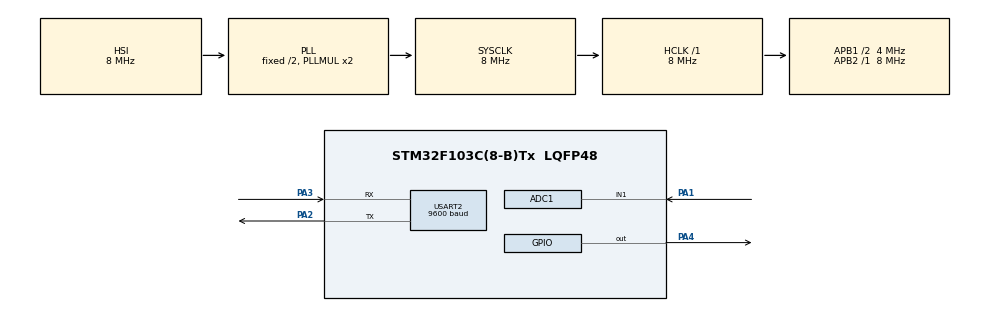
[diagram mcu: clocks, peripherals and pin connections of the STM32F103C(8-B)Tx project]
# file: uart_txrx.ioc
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ADC1.Channel-2\#ChannelRegularConversion=ADC_CHANNEL_1
ADC1.ContinuousConvMode=ENABLE
ADC1.NbrOfConversionFlag=1
ADC1.Rank-2\#ChannelRegularConversion=1
ADC1.SamplingTime-2\#ChannelRegularConversion=ADC_SAMPLETIME_1CYCLE_5
ADC1.master=1
Mcu.Family=STM32F1
Mcu.Name=STM32F103C(8-B)Tx
Mcu.Package=LQFP48
NVIC.PriorityGroup=NVIC_PRIORITYGROUP_4
NVIC.USART2_IRQn=true\:0\:0\:false\:false\:true\:true\:true\:true
PA1.Signal=ADCx_IN1
PA2.Mode=Asynchronous
PA2.Signal=USART2_TX
PA3.Mode=Asynchronous
PA3.Signal=USART2_RX
PA4.GPIO_ModeDefaultOutputPP=GPIO_MODE_OUTPUT_PP
PA4.GPIO_PuPd=GPIO_NOPULL
PA4.GPIO_Speed=GPIO_SPEED_FREQ_HIGH
PA4.Signal=GPIO_Output
ProjectManager.HeapSize=0x200
ProjectManager.StackSize=0x400
ProjectManager.TargetToolchain=MDK-ARM V5.32
RCC.AHBFreq_Value=8000000
RCC.APB1CLKDivider=RCC_HCLK_DIV2
RCC.APB1Freq_Value=4000000
RCC.APB1TimFreq_Value=8000000
RCC.APB2Freq_Value=8000000
RCC.APB2TimFreq_Value=8000000
RCC.HCLKFreq_Value=8000000
RCC.SYSCLKFreq_VALUE=8000000
RCC.SYSCLKSource=RCC_SYSCLKSOURCE_PLLCLK
RCC.USBFreq_Value=8000000
SH.ADCx_IN1.0=ADC1_IN1,IN1
USART2.BaudRate=9600
USART2.VirtualMode=VM_ASYNC
VP_SYS_VS_ND.Mode=No_Debug
VP_TIM1_VS_ClockSourceINT.Mode=Internal
board=custom

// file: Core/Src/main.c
/* USER CODE BEGIN Header */
/**
  ******************************************************************************
  * @file           : main.c
  * @brief          : Main program body
  ******************************************************************************
  * @attention
  *
  * Copyright (c) 2026 STMicroelectronics.
  * All rights reserved.
  *
  * This software is licensed under terms that can be found in the LICENSE file
  * in the root directory of this software component.
  * If no LICENSE file comes with this software, it is provided AS-IS.
  *
  ******************************************************************************
  */
/* USER CODE END Header */
#include "main.h"
#include "adc.h"
#include "tim.h"
#include "usart.h"
#include "gpio.h"

/* USER CODE BEGIN Includes */
#include "stdio.h"
#include "string.h"

/* USER CODE END Includes */

/* USER CODE BEGIN PV */
char tx_buf[100];
uint32_t adc_val = 0;
float dien_ap = 0;
uint8_t rx_data[1]; // Biến hứng lệnh '1' hoặc '0' từ ESP32
/* USER CODE END PV */

void SystemClock_Config(void);

int main(void)
{

  /* MCU Configuration--------------------------------------------------------*/

  /* Reset of all peripherals, Initializes the Flash interface and the Systick. */
  HAL_Init();

  /* Configure the system clock */
  SystemClock_Config();

  /* Initialize all configured peripherals */
  MX_GPIO_Init();
  MX_USART2_UART_Init();
  MX_TIM1_Init();
  MX_ADC1_Init();
  /* USER CODE BEGIN 2 */
HAL_GPIO_WritePin(GPIOA, GPIO_PIN_4, GPIO_PIN_SET);
HAL_ADCEx_Calibration_Start(&hadc1);
// Đảm bảo truyền đúng địa chỉ mảng và số lượng là 1

HAL_TIM_Base_Start(&htim1);
HAL_ADC_Start(&hadc1);
HAL_UART_Receive_IT(&huart2, rx_data, 1);

  /* USER CODE END 2 */

  /* Infinite loop */
  while (1)
  {

    /* USER CODE BEGIN 3 */
		HAL_ADC_Start(&hadc1);
    if (HAL_ADC_PollForConversion(&hadc1, 10) == HAL_OK)
    {
        adc_val = HAL_ADC_GetValue(&hadc1);
        // Công thức tính điện áp:
        // dien_ap = (adc_val * 3.3f) / 4095.0f;
        dien_ap = (adc_val * 3.3f) / 4095.0f;
    }
    HAL_ADC_Stop(&hadc1);

    // Đóng gói JSON ngắn gọn
    sprintf(tx_buf, "{\"a\":%lu,\"v\":%.2f}\n", adc_val, dien_ap);

    // Gửi qua LoRa
    HAL_UART_Transmit(&huart2, (uint8_t*)tx_buf, strlen(tx_buf), 100);

    // Nháy LED PC13 báo hiệu chip vẫn đang chạy
    HAL_GPIO_TogglePin(GPIOC, GPIO_PIN_13);

    // Delay 1 giây (Vừa đủ để LoRa truyền tin ổn định và nút nhấn không quá lag)
    HAL_Delay(5000);
  /* USER CODE END 3 */
}
	}

void SystemClock_Config(void)
{
  RCC_OscInitTypeDef RCC_OscInitStruct = {0};
  RCC_ClkInitTypeDef RCC_ClkInitStruct = {0};
  RCC_PeriphCLKInitTypeDef PeriphClkInit = {0};

  /** Initializes the RCC Oscillators according to the specified parameters
  * in the RCC_OscInitTypeDef structure.
  */
  RCC_OscInitStruct.OscillatorType = RCC_OSCILLATORTYPE_HSI;
  RCC_OscInitStruct.HSIState = RCC_HSI_ON;
  RCC_OscInitStruct.HSICalibrationValue = RCC_HSICALIBRATION_DEFAULT;
  RCC_OscInitStruct.PLL.PLLState = RCC_PLL_ON;
  RCC_OscInitStruct.PLL.PLLSource = RCC_PLLSOURCE_HSI_DIV2;
  RCC_OscInitStruct.PLL.PLLMUL = RCC_PLL_MUL2;
  if (HAL_RCC_OscConfig(&RCC_OscInitStruct) != HAL_OK)
  {
    Error_Handler();
  }

  /** Initializes the CPU, AHB and APB buses clocks
  */
  RCC_ClkInitStruct.ClockType = RCC_CLOCKTYPE_HCLK|RCC_CLOCKTYPE_SYSCLK
                              |RCC_CLOCKTYPE_PCLK1|RCC_CLOCKTYPE_PCLK2;
  RCC_ClkInitStruct.SYSCLKSource = RCC_SYSCLKSOURCE_PLLCLK;
  RCC_ClkInitStruct.AHBCLKDivider = RCC_SYSCLK_DIV1;
  RCC_ClkInitStruct.APB1CLKDivider = RCC_HCLK_DIV2;
  RCC_ClkInitStruct.APB2CLKDivider = RCC_HCLK_DIV1;

  if (HAL_RCC_ClockConfig(&RCC_ClkInitStruct, FLASH_LATENCY_0) != HAL_OK)
  {
    Error_Handler();
  }
  PeriphClkInit.PeriphClockSelection = RCC_PERIPHCLK_ADC;
  PeriphClkInit.AdcClockSelection = RCC_ADCPCLK2_DIV2;
  if (HAL_RCCEx_PeriphCLKConfig(&PeriphClkInit) != HAL_OK)
  {
    Error_Handler();
  }
}

/* USER CODE BEGIN 4 */
void HAL_UART_RxCpltCallback(UART_HandleTypeDef *huart)
{
  if(huart->Instance == USART2)
  {
    // Thêm dòng này để debug: Nếu nhận được gì đó, LED xanh (PC13) sẽ nháy
    HAL_GPIO_TogglePin(GPIOC, GPIO_PIN_13);

    if(rx_data[0] == '1') {
      HAL_GPIO_WritePin(GPIOA, GPIO_PIN_4, GPIO_PIN_SET);   // Bật LED PA4
    }
    else if(rx_data[0] == '0') {
      HAL_GPIO_WritePin(GPIOA, GPIO_PIN_4, GPIO_PIN_RESET); // Tắt LED PA4
    }

    // Gọi lại lệnh nhận IT
    HAL_UART_Receive_IT(&huart2, rx_data, 1);
  }
}

// THÊM HÀM NÀY ĐỂ TỰ SỬA LỖI UART
void HAL_UART_ErrorCallback(UART_HandleTypeDef *huart)
{
    if(huart->Instance == USART2)
    {
        uint32_t er = HAL_UART_GetError(huart);
        if (er != HAL_UART_ERROR_NONE) {
            // Nếu có lỗi, reset lại bộ nhận
            HAL_UART_Receive_IT(&huart2, rx_data, 1);
        }
    }
}
/* USER CODE END 4 */

void Error_Handler(void)
{
  __disable_irq();
  while (1)
  {
  }
}
